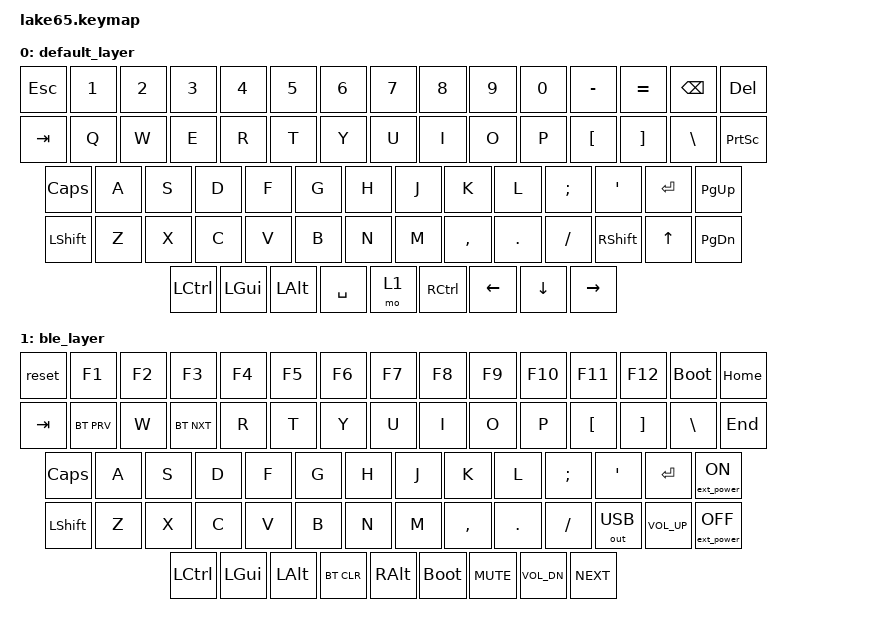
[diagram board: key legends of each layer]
/*
 * Copyright (c) 2021 Nick Winanschosen
 *
 * SPDX-License-Identifier: MIT
 */

#include <behaviors.dtsi>
#include <dt-bindings/zmk/keys.h>
#include <dt-bindings/zmk/rgb.h>
#include <dt-bindings/zmk/bt.h>
#include <dt-bindings/zmk/outputs.h>
#include <dt-bindings/zmk/ext_power.h>
/ {
	keymap {
		compatible = "zmk,keymap";
		
		 default_layer {
             bindings = <
	&kp ESC &kp N1 &kp N2 &kp N3 &kp N4 &kp N5 &kp N6 &kp N7 &kp N8 &kp N9 &kp N0 &kp MINUS &kp EQUAL  &kp BSPC      &kp DEL
	&kp TAB  &kp Q  &kp W  &kp E  &kp R  &kp T  &kp Y  &kp U  &kp I  &kp O  &kp P  &kp LBKT  &kp RBKT  &kp BSLH      &kp PSCRN
	&kp CLCK  &kp A  &kp S  &kp D  &kp F  &kp G  &kp H  &kp J  &kp K  &kp L  &kp SEMI &kp SQT &kp RET                &kp PG_UP
	&kp LSHFT   &kp Z  &kp X  &kp C  &kp V  &kp B  &kp N  &kp M  &kp COMMA &kp DOT &kp FSLH   &kp RSHFT     &kp UP   &kp PG_DN
	&kp LCTRL &kp LGUI &kp LALT             &kp SPACE                     &mo 1    &kp RCTRL       &kp LEFT &kp DOWN &kp RIGHT
			>;
		

            
		};

		ble_layer {

			bindings = <
	&reset  &kp F1 &kp F2 &kp F3 &kp F4 &kp F5 &kp F6 &kp F7 &kp F8 &kp F9 &kp F10 &kp F11 &kp F12  &bootloader             &kp HOME
	&kp TAB  &bt BT_PRV  &kp W  &bt BT_NXT  &kp R  &kp T  &kp Y  &kp U  &kp I  &kp O  &kp P  &kp LBKT  &kp RBKT  &kp BSLH   &kp END
	&kp CLCK  &kp A  &kp S  &kp D  &kp F  &kp G  &kp H  &kp J  &kp K  &kp L  &kp SEMI &kp SQT &kp RET                       &ext_power EP_ON
	&kp LSHFT   &kp Z  &kp X  &kp C  &kp V  &kp B  &kp N  &kp M  &kp COMMA &kp DOT &kp FSLH   &out OUT_USB  &kp C_VOL_UP    &ext_power EP_OFF
	&kp LCTRL &kp LGUI &kp LALT            &bt BT_CLR                    &kp RALT    &bootloader &kp C_MUTE &kp C_VOL_DN    &kp C_NEXT
	>;
		};
	};
};

